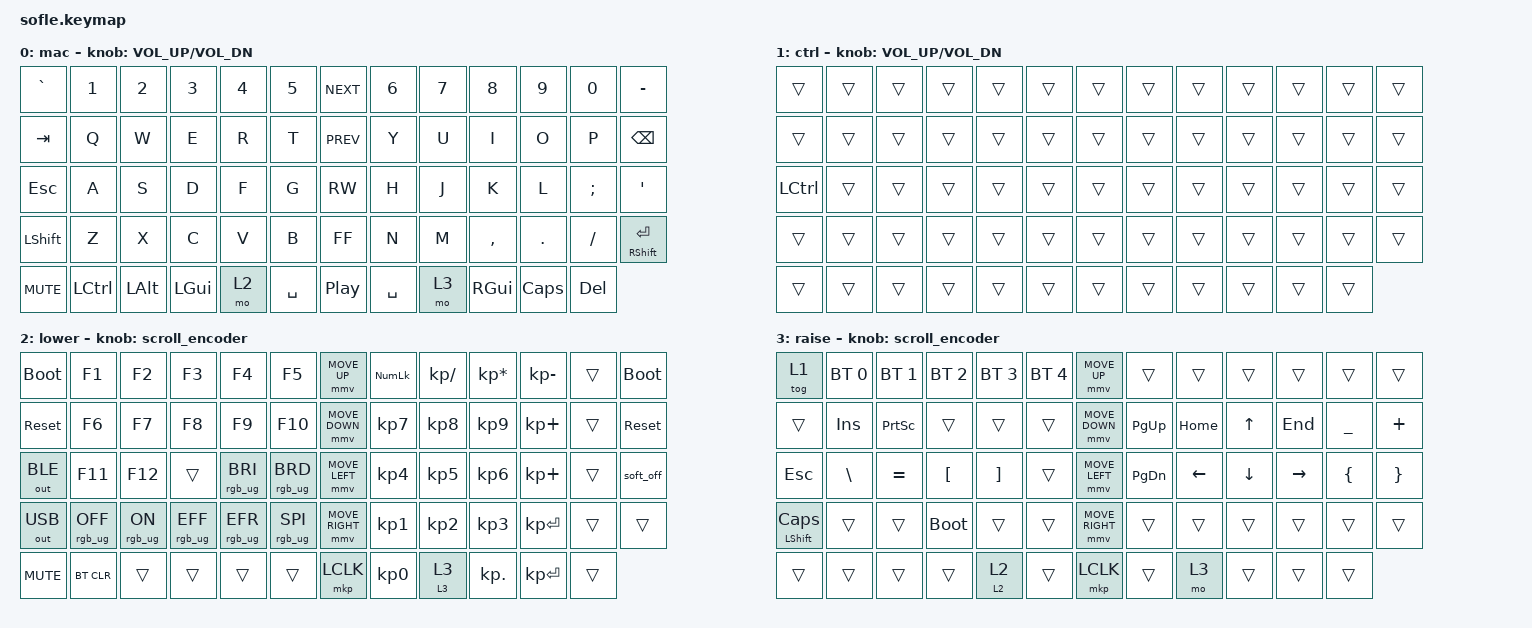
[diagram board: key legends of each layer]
#include <behaviors/mouse_keys.dtsi>
#include <behaviors.dtsi>
#include <dt-bindings/zmk/bt.h>
#include <dt-bindings/zmk/keys.h>
#include <dt-bindings/zmk/mouse.h>
#include <dt-bindings/zmk/outputs.h>
#include <dt-bindings/zmk/rgb.h>

#define ZMK_MOUSE_DEFAULT_MOVE_VAL 1200  // 600
#define ZMK_MOUSE_DEFAULT_SCRL_VAL 20    // 10
#define U_MS_U &mmv MOVE_UP
#define U_MS_D &mmv MOVE_DOWN
#define U_MS_L &mmv MOVE_LEFT
#define U_MS_R &mmv MOVE_RIGHT
#define ZMK_MOUSE_DEFAULT_MOVE_VAL 1200  //  600
#define ZMK_MOUSE_DEFAULT_SCRL_VAL 20    // 10

/ {
    behaviors {
        lm: layer_mods {
            compatible = "zmk,behavior-hold-tap";
            #binding-cells = <2>;
            tapping-term-ms = <150>;
            quick_tap_ms = <0>;
            flavor = "hold-preferred";
            bindings = <&mo>, <&tog>;
        };

        mmv {
            acceleration-exponent = <1>;      // 1
            time-to-max-speed-ms = <900>;    // 40
            delay-ms = <0>;                   // 0
        };

        msc {
            acceleration-exponent = <1>;      // 0
            time-to-max-speed-ms = <400>;      // 500
            delay-ms = <0>;                   //   10
        };

    };
    scroll_encoder: scroll_encoder {
        compatible = "zmk,behavior-sensor-rotate";
        #sensor-binding-cells = <0>;
        bindings = <&msc SCRL_DOWN>, <&msc SCRL_UP>;

        tap-ms = <30>;
    };

    keymap {
        compatible = "zmk,keymap";

        layer_0 {
            bindings = <
&kp GRAVE         &kp N1     &kp N2        &kp N3        &kp N4  &kp N5       &kp C_NEXT     &kp N6     &kp N7     &kp N8          &kp N9           &kp N0      &kp MINUS
&kp TAB           &kp Q      &kp W         &kp E         &kp R   &kp T        &kp C_PREV     &kp Y      &kp U      &kp I           &kp O            &kp P       &kp BSPC
&kp ESC           &kp A      &kp S         &kp D         &kp F   &kp G        &kp C_RW       &kp H      &kp J      &kp K           &kp L            &kp SEMI    &kp SQT
&kp LSHFT         &kp Z      &kp X         &kp C         &kp V   &kp B        &kp C_FF       &kp N      &kp M      &kp COMMA       &kp DOT          &kp FSLH    &mt RSHFT RET
&kp C_MUTE        &kp LCTRL  &kp LALT      &kp LGUI      &mo 2   &kp SPACE    &kp C_PP       &kp SPACE  &mo 3      &kp RGUI        &kp CAPS         &kp DELETE
            >;

            display-name = "mac";
            sensor-bindings = <&inc_dec_kp C_VOLUME_UP C_VOL_DN>;
        };

        layer_1 {
            bindings = <
&trans    &trans        &trans        &trans        &trans   &trans        &trans   &trans      &trans      &trans           &trans            &trans    &trans
&trans    &trans        &trans        &trans        &trans   &trans        &trans   &trans      &trans      &trans           &trans            &trans    &trans
&kp LCTRL &trans        &trans        &trans        &trans   &trans        &trans   &trans      &trans      &trans           &trans            &trans    &trans
&trans    &trans        &trans        &trans        &trans   &trans        &trans   &trans      &trans      &trans           &trans            &trans    &trans
&trans    &trans        &trans        &trans        &trans   &trans        &trans   &trans      &trans      &trans           &trans            &trans
            >;

            display-name = "ctrl";
            sensor-bindings = <&inc_dec_kp C_VOLUME_UP C_VOL_DN>;
        };

        layer_2 {
            bindings = <
&bootloader      &kp F1           &kp F2          &kp F3           &kp F4           &kp F5             &mmv MOVE_UP     &kp KP_NUMLOCK   &kp KP_DIVIDE    &kp KP_MULTIPLY  &kp KP_MINUS   &trans    &bootloader
&sys_reset       &kp F6           &kp F7          &kp F8           &kp F9           &kp F10            &mmv MOVE_DOWN   &kp KP_N7        &kp KP_N8        &kp KP_N9        &kp KP_PLUS    &trans    &sys_reset
&out OUT_BLE     &kp F11          &kp F12         &trans           &rgb_ug RGB_BRI  &rgb_ug RGB_BRD    &mmv MOVE_LEFT   &kp KP_N4        &kp KP_N5        &kp KP_N6        &kp KP_PLUS    &trans    &soft_off
&out OUT_USB     &rgb_ug RGB_OFF  &rgb_ug RGB_ON  &rgb_ug RGB_EFF  &rgb_ug RGB_EFR  &rgb_ug RGB_SPI    &mmv MOVE_RIGHT  &kp KP_N1        &kp KP_N2        &kp KP_N3        &kp KP_ENTER   &trans    &trans
&kp C_MUTE       &bt BT_CLR       &trans          &trans           &trans           &trans             &mkp LCLK        &kp KP_N0        &lm 3 3          &kp KP_DOT       &kp KP_ENTER   &trans
            >;

            display-name = "lower";
            sensor-bindings = <&scroll_encoder>;
        };

        layer_3 {
            bindings = <
&tog 1          &bt BT_SEL 0  &bt BT_SEL 1   &bt BT_SEL 2  &bt BT_SEL 3  &bt BT_SEL 4    &mmv MOVE_UP     &trans     &trans    &trans      &trans        &trans       &trans
&trans          &kp INS       &kp PSCRN      &trans        &trans        &trans          &mmv MOVE_DOWN   &kp PG_UP  &kp HOME  &kp UP      &kp END       &kp UNDER    &kp PLUS
&kp ESC         &kp BSLH      &kp EQUAL      &kp LBKT      &kp RBKT      &trans          &mmv MOVE_LEFT   &kp PG_DN  &kp LEFT  &kp DOWN    &kp RIGHT     &kp LBRC     &kp RBRC
&mt LSHFT CAPS  &trans        &trans         &bootloader   &trans        &trans          &mmv MOVE_RIGHT  &trans     &trans    &trans      &trans        &trans       &trans
&trans          &trans        &trans         &trans        &lm 2 2       &trans          &mkp LCLK        &trans     &mo 3     &trans      &trans        &trans
            >;

            display-name = "raise";
            sensor-bindings = <&scroll_encoder>;
        };
    };
};
